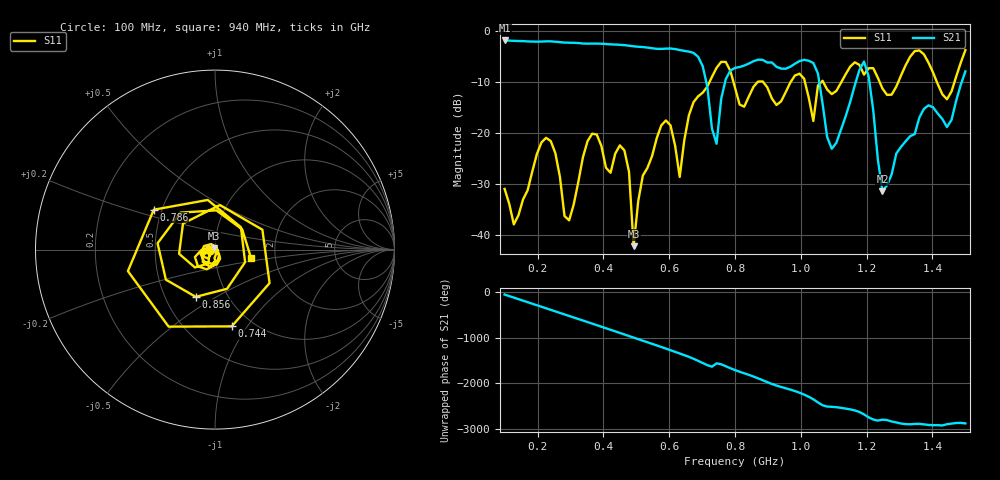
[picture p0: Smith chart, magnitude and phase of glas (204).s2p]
! NanoVNA-App
! Date: 2025-09-25 15:57:03
! Start: 100MHz Stop: 1,5GHz Points: 101
! S-Parameter data: F S11 S21 S12 S22
# Hz S RI R 50
!  Frequency  S11_Real  S11_Imag  S21_Real  S21_Imag  S12_Real  S12_Imag  S22_Real  S22_Imag
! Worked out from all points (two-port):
!   101 points, 100 MHz to 1.5 GHz, reference 50 ohm
!   highest |S21| = -1.80 dB at 100 MHz (marker M1); lowest = -31.4 dB at 1.248 GHz (marker M2)
!   |S21| within 3 dB of the highest: start of sweep to 684.3 MHz
!   lowest |S11| = -42.2 dB at 492 MHz (marker M3), VSWR 1.02, Z = 49.5 + j0.61 ohm
!   |S11| at or under -10 dB: start of sweep to 722.3 MHz; 795.4 MHz to 868.3 MHz (72.91 MHz wide, 8.76 % of centre); 885.8 MHz to 968.7 MHz (82.89 MHz wide, 8.94 % of centre) (the widest 3 of 7)
!   S12 and S22 are empty: the file has one direction only
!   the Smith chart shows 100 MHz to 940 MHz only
!   S11 on the Smith chart (normalised r, x): 100 MHz: 0.95, -0.01; 744 MHz: 0.80, -0.85; 786 MHz: 0.45, +0.24; 856 MHz: 0.71, -0.41; 940 MHz: 1.49, -0.14
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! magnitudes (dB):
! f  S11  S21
! 100 MHz  -31.0  -1.8
! 128 MHz  -37.9  -1.9
! 226 MHz  -20.9  -2.0
! 296 MHz  -37.1  -2.2
! 338 MHz  -24.7  -2.4
! 464 MHz  -23.4  -2.7
! 492 MHz  -42.2  -3.0
! 576 MHz  -18.5  -3.5
! 632 MHz  -28.6  -3.7
! 702 MHz  -12.1  -6.9
! 744 MHz  -7.2  -22.1
! 786 MHz  -7.8  -7.7
! 800 MHz  -11.1  -7.2
! 856 MHz  -10.9  -5.9
! 940 MHz  -13.8  -7.3
! 996 MHz  -8.3  -5.8
! 1.038 GHz  -17.6  -6.2
! 1.094 GHz  -12.3  -23.1
! 1.192 GHz  -8.5  -5.9
! 1.248 GHz  -11.2  -31.4
! 1.276 GHz  -12.4  -28.1
! 1.5 GHz  -3.7  -7.9
